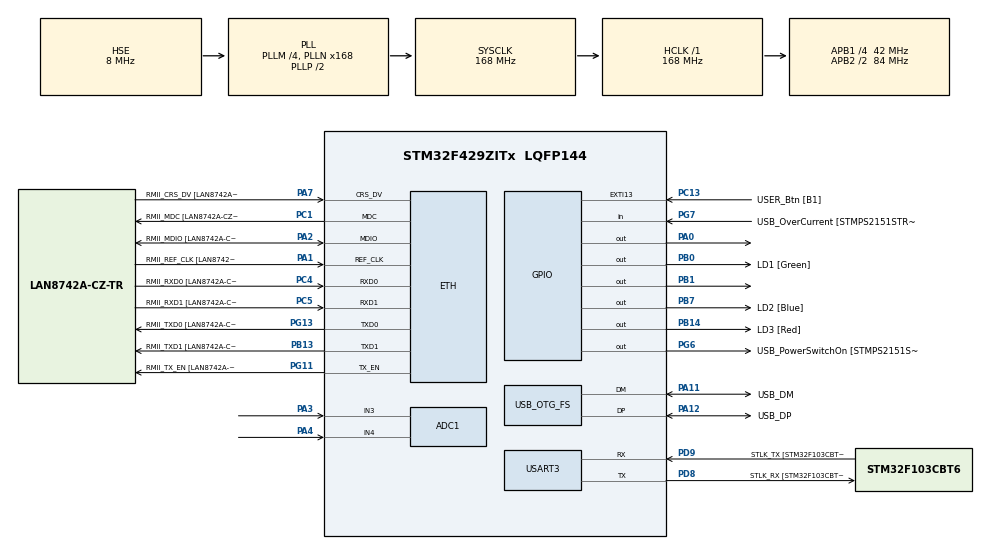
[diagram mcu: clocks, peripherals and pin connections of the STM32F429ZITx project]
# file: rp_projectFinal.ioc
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ADC1.Channel-0\#ChannelRegularConversion=ADC_CHANNEL_3
ADC1.Channel-1\#ChannelRegularConversion=ADC_CHANNEL_4
ADC1.ContinuousConvMode=DISABLE
ADC1.DiscontinuousConvMode=ENABLE
ADC1.NbrOfConversion=2
ADC1.NbrOfConversionFlag=1
ADC1.Rank-0\#ChannelRegularConversion=1
ADC1.Rank-1\#ChannelRegularConversion=2
ADC1.SamplingTime-0\#ChannelRegularConversion=ADC_SAMPLETIME_3CYCLES
ADC1.SamplingTime-1\#ChannelRegularConversion=ADC_SAMPLETIME_3CYCLES
ADC1.master=1
ETH.MediaInterface=HAL_ETH_RMII_MODE
ETH.PHY_Name=LAN8742A_PHY_ADDRESS
ETH.PHY_Value=0
ETH.PhyAddress=0
Mcu.Family=STM32F4
Mcu.Name=STM32F429ZITx
Mcu.Package=LQFP144
NVIC.OTG_FS_IRQn=true\:0\:0\:false\:false\:true\:false\:true\:true
NVIC.PriorityGroup=NVIC_PRIORITYGROUP_4
PA0/WKUP.Signal=GPIO_Output
PA1.GPIO_Label=RMII_REF_CLK [LAN8742A-CZ-TR_REFCLK0]
PA1.Mode=RMII
PA1.Signal=ETH_REF_CLK
PA10.GPIO_Label=USB_ID
PA10.Signal=USB_OTG_FS_ID
PA11.GPIO_Label=USB_DM
PA11.Mode=Device_Only
PA11.Signal=USB_OTG_FS_DM
PA12.GPIO_Label=USB_DP
PA12.Mode=Device_Only
PA12.Signal=USB_OTG_FS_DP
PA13.GPIO_Label=TMS
PA13.Mode=Serial_Wire
PA13.Signal=SYS_JTMS-SWDIO
PA14.GPIO_Label=TCK
PA14.Mode=Serial_Wire
PA14.Signal=SYS_JTCK-SWCLK
PA2.GPIO_Label=RMII_MDIO [LAN8742A-CZ-TR_MDIO]
PA2.Mode=RMII
PA2.Signal=ETH_MDIO
PA3.Signal=ADCx_IN3
PA4.Signal=ADCx_IN4
PA7.GPIO_Label=RMII_CRS_DV [LAN8742A-CZ-TR_CRS_DV]
PA7.Mode=RMII
PA7.Signal=ETH_CRS_DV
PA8.GPIO_Label=USB_SOF [TP1]
PA8.Signal=USB_OTG_FS_SOF
PA9.GPIO_Label=USB_VBUS
PA9.Signal=USB_OTG_FS_VBUS
PB0.GPIO_Label=LD1 [Green]
PB0.Signal=GPIO_Output
PB1.Signal=GPIO_Output
PB13.GPIO_Label=RMII_TXD1 [LAN8742A-CZ-TR_TXD1]
PB13.Mode=RMII
PB13.Signal=ETH_TXD1
PB14.GPIO_Label=LD3 [Red]
PB14.Signal=GPIO_Output
PB7.GPIO_Label=LD2 [Blue]
PB7.Signal=GPIO_Output
PC1.GPIO_Label=RMII_MDC [LAN8742A-CZ-TR_MDC]
PC1.Mode=RMII
PC1.Signal=ETH_MDC
PC13.GPIO_Label=USER_Btn [B1]
PC13.Signal=GPXTI13
PC14/OSC32_IN.Mode=LSE-External-Oscillator
PC14/OSC32_IN.Signal=RCC_OSC32_IN
PC15/OSC32_OUT.Mode=LSE-External-Oscillator
PC15/OSC32_OUT.Signal=RCC_OSC32_OUT
PC4.GPIO_Label=RMII_RXD0 [LAN8742A-CZ-TR_RXD0]
PC4.Mode=RMII
PC4.Signal=ETH_RXD0
PC5.GPIO_Label=RMII_RXD1 [LAN8742A-CZ-TR_RXD1]
PC5.Mode=RMII
PC5.Signal=ETH_RXD1
PD8.GPIO_Label=STLK_RX [STM32F103CBT6_PA3]
PD8.Mode=Asynchronous
PD8.Signal=USART3_TX
PD9.GPIO_Label=STLK_TX [STM32F103CBT6_PA2]
PD9.Mode=Asynchronous
PD9.Signal=USART3_RX
PG11.GPIO_Label=RMII_TX_EN [LAN8742A-CZ-TR_TXEN]
PG11.Mode=RMII
PG11.Signal=ETH_TX_EN
PG13.GPIO_Label=RMII_TXD0 [LAN8742A-CZ-TR_TXD0]
PG13.Mode=RMII
PG13.Signal=ETH_TXD0
PG6.GPIO_Label=USB_PowerSwitchOn [STMPS2151STR_EN]
PG6.Signal=GPIO_Output
PG7.GPIO_Label=USB_OverCurrent [STMPS2151STR_FAULT]
PG7.Signal=GPIO_Input
PH0/OSC_IN.GPIO_Label=MCO [STM32F103CBT6_PA8]
PH0/OSC_IN.Mode=HSE-External-Clock-Source
PH0/OSC_IN.Signal=RCC_OSC_IN
PH1/OSC_OUT.Mode=HSE-External-Clock-Source
PH1/OSC_OUT.Signal=RCC_OSC_OUT
ProjectManager.HeapSize=0x200
ProjectManager.StackSize=0x400
ProjectManager.TargetToolchain=STM32CubeIDE
RCC.48MHZClocksFreq_Value=48000000
RCC.AHBFreq_Value=168000000
RCC.APB1CLKDivider=RCC_HCLK_DIV4
RCC.APB1Freq_Value=42000000
RCC.APB1TimFreq_Value=84000000
RCC.APB2CLKDivider=RCC_HCLK_DIV2
RCC.APB2Freq_Value=84000000
RCC.APB2TimCLKDivider=2
RCC.APB2TimFreq_Value=168000000
RCC.CortexFreq_Value=168000000
RCC.HCLKFreq_Value=168000000
RCC.HSE_VALUE=8000000
RCC.HSI_VALUE=16000000
RCC.PLLM=4
RCC.PLLMUL=RCC_PLL_MUL9
RCC.PLLN=168
RCC.PLLQ=7
RCC.PRESCALERUSB=RCC_USBCLKSOURCE_PLL_DIV1_5
RCC.SYSCLKFreq_VALUE=168000000
RCC.SYSCLKSource=RCC_SYSCLKSOURCE_PLLCLK
RCC.SYSCLKSourceVirtual=RCC_SYSCLKSOURCE_PLLCLK
RCC.USBFreq_Value=48000000
RCC.VCOOutputFreq_Value=336000000
SH.ADCx_IN3.0=ADC1_IN3,IN3
SH.ADCx_IN4.0=ADC1_IN4,IN4
TIM1.Period=65535-1
TIM1.Prescaler=168-1
USART3.VirtualMode=VM_ASYNC
USB_DEVICE.CLASS_NAME_FS=CDC
USB_DEVICE.VirtualMode-CDC_FS=Cdc
USB_DEVICE.VirtualModeFS=Cdc_FS
USB_OTG_FS.VirtualMode=Device_Only
VP_TIM1_VS_ClockSourceINT.Mode=Internal
VP_USB_DEVICE_VS_USB_DEVICE_CDC_FS.Mode=CDC_FS
board=NUCLEO-F429ZI

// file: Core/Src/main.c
/* USER CODE BEGIN Header */
/**
  ******************************************************************************
  * @file           : main.c
  * @brief          : Main program body
  ******************************************************************************
  * @attention
  *
  * Copyright (c) 2022 STMicroelectronics.
  * All rights reserved.
  *
  * This software is licensed under terms that can be found in the LICENSE file
  * in the root directory of this software component.
  * If no LICENSE file comes with this software, it is provided AS-IS.
  *
  ******************************************************************************
  */
/* USER CODE END Header */
#include "main.h"
#include "string.h"
#include "usb_device.h"

/* USER CODE BEGIN Includes */
#include "stdio.h"
#include "usbd_cdc_if.h"
/* USER CODE END Includes */

ETH_TxPacketConfig TxConfig;
ETH_DMADescTypeDef  DMARxDscrTab[ETH_RX_DESC_CNT]; /* Ethernet Rx DMA Descriptors */
ETH_DMADescTypeDef  DMATxDscrTab[ETH_TX_DESC_CNT]; /* Ethernet Tx DMA Descriptors */

 ADC_HandleTypeDef hadc1;

ETH_HandleTypeDef heth;

TIM_HandleTypeDef htim1;

UART_HandleTypeDef huart3;

void SystemClock_Config(void);
static void MX_GPIO_Init(void);
static void MX_ETH_Init(void);
static void MX_USART3_UART_Init(void);
static void MX_ADC1_Init(void);
static void MX_TIM1_Init(void);
/* USER CODE BEGIN PFP */
#ifdef __GNUC__
/* With GCC, small printf (option LD Linker->Libraries->Small printf
   set to 'Yes') calls __io_putchar() */
#define PUTCHAR_PROTOTYPE int __io_putchar(int ch)
#else
#define PUTCHAR_PROTOTYPE int fputc(int ch, FILE *f)
#endif /* __GNUC__ */
/* USER CODE END PFP */

/* USER CODE BEGIN 0 */
void delay_us(uint16_t time)
{
	__HAL_TIM_SET_COUNTER(&htim1, 0);
	while((__HAL_TIM_GET_COUNTER(&htim1)) < time);
}

uint8_t RH_integral, RH_decimal, T_integral, T_decimal;
uint8_t CheckSUM, Presence = 0;

void Set_Pin_Output(GPIO_TypeDef *GPIOx, uint16_t GPIO_Pin)
{
	GPIO_InitTypeDef GPIO_InitStruct = {0};
	GPIO_InitStruct.Pin = GPIO_Pin;
	GPIO_InitStruct.Mode = GPIO_MODE_OUTPUT_PP;
	GPIO_InitStruct.Speed = GPIO_SPEED_FREQ_LOW;
	HAL_GPIO_Init(GPIOx, &GPIO_InitStruct);
}

void Set_Pin_Input(GPIO_TypeDef *GPIOx, uint16_t GPIO_Pin)
{
	GPIO_InitTypeDef GPIO_InitStruct = {0};
	GPIO_InitStruct.Pin = GPIO_Pin;
	GPIO_InitStruct.Mode = GPIO_MODE_INPUT;
	GPIO_InitStruct.Pull = GPIO_PULLUP;
	HAL_GPIO_Init(GPIOx, &GPIO_InitStruct);
}

void DHT11_Start(void)
{
	Set_Pin_Output(GPIOA, GPIO_PIN_0);
	HAL_GPIO_WritePin(GPIOA, GPIO_PIN_0, GPIO_PIN_RESET);
	HAL_Delay(18);
	HAL_GPIO_WritePin(GPIOA, GPIO_PIN_0, GPIO_PIN_SET);
	delay_us(20);
	Set_Pin_Input(GPIOA, GPIO_PIN_0);
}

uint8_t DHT11_check_Response(void)
{
	uint8_t Response = 0;
	delay_us(40);
	if(!(HAL_GPIO_ReadPin(GPIOA, GPIO_PIN_0)))
	{
		delay_us(80);
		if((HAL_GPIO_ReadPin(GPIOA, GPIO_PIN_0))) Response = 1;
		else Response = -1;
	}
	while((HAL_GPIO_ReadPin(GPIOA, GPIO_PIN_0)));

	return Response;
}

uint8_t DHT11_Read(void)
{
	uint8_t data;
	for(uint8_t i = 0; i < 8; i++)
	{
		while(!(HAL_GPIO_ReadPin(GPIOA, GPIO_PIN_0)));
		delay_us(40);
		if(!(HAL_GPIO_ReadPin(GPIOA, GPIO_PIN_0)))
		{
			data = (data << 1);
		}
		else data = (data << 1) + 1;

		while((HAL_GPIO_ReadPin(GPIOA, GPIO_PIN_0)));
	}
	return data;
}
/* USER CODE END 0 */

int main(void)
{

  /* MCU Configuration--------------------------------------------------------*/

  /* Reset of all peripherals, Initializes the Flash interface and the Systick. */
  HAL_Init();

  /* Configure the system clock */
  SystemClock_Config();

  /* Initialize all configured peripherals */
  MX_GPIO_Init();
  MX_ETH_Init();
  MX_USART3_UART_Init();
  MX_ADC1_Init();
  MX_TIM1_Init();
  MX_USB_DEVICE_Init();
  /* USER CODE BEGIN 2 */
//  uint32_t flame;
//  uint32_t cds;
  uint32_t ADC_DATA[2];
  char state[200] = {0};
  int flame, cds;
  char *data = "26:42:0:255L";
  int datalen = strlen(data);
  float fcds;
  int icds;
  HAL_TIM_Base_Start(&htim1);
  /* USER CODE END 2 */

  /* Infinite loop */
  /* USER CODE BEGIN WHILE */
  while (1)
  {
	  int PinNum = GPIO_PIN_1;
	  DHT11_Start();
	  DHT11_check_Response();
	  RH_integral = DHT11_Read();
	  RH_decimal = DHT11_Read();
	  T_integral = DHT11_Read();
	  T_decimal = DHT11_Read();
	  CheckSUM = DHT11_Read();

	  if((RH_integral + RH_decimal + T_integral + T_decimal) == CheckSUM)
	  {
	  	  printf("TEMPERATURE : %d.%d C\n", T_integral, T_decimal);
	  	  printf("HUMIDITY : 	%d.%d %%\n", RH_integral, RH_decimal);
	  }

	  else
	  {
	  	  printf("DHT11 ERROR!!\n");
	  }

	  HAL_ADC_Start(&hadc1);
	  HAL_ADC_PollForConversion(&hadc1, 10);
	  ADC_DATA[0] = HAL_ADC_GetValue(&hadc1);

	  HAL_ADC_Start(&hadc1);
	  HAL_ADC_PollForConversion(&hadc1, 10);
	  ADC_DATA[1] = HAL_ADC_GetValue(&hadc1);
	  fcds = (float)ADC_DATA[1];
	  fcds = (fcds-850)/3245*100;
	  icds = (int)fcds;

	  if(icds < 0)
	  {
		  icds = 0;
	  }
	  if(ADC_DATA[0] > 50)
	  {
		  HAL_GPIO_WritePin(GPIOB, PinNum, 1);
		  flame = 1;
	  }
	  else
	  {
		  HAL_GPIO_WritePin(GPIOB, PinNum, 0);
		  flame = 0;
	  }

	  printf("cds value : %d\n\r", icds);
	  sprintf(state, "%d:%d:%d:%dL", T_integral, RH_integral, flame, icds);
	  CDC_Transmit_FS(state, strlen(state)); //데이터 전송할때 사용
	  HAL_Delay(1000);
    /* USER CODE END WHILE */

    /* USER CODE BEGIN 3 */S
  }
  /* USER CODE END 3 */
}

void SystemClock_Config(void)
{
  RCC_OscInitTypeDef RCC_OscInitStruct = {0};
  RCC_ClkInitTypeDef RCC_ClkInitStruct = {0};

  /** Configure the main internal regulator output voltage
  */
  __HAL_RCC_PWR_CLK_ENABLE();
  __HAL_PWR_VOLTAGESCALING_CONFIG(PWR_REGULATOR_VOLTAGE_SCALE1);

  /** Initializes the RCC Oscillators according to the specified parameters
  * in the RCC_OscInitTypeDef structure.
  */
  RCC_OscInitStruct.OscillatorType = RCC_OSCILLATORTYPE_HSE;
  RCC_OscInitStruct.HSEState = RCC_HSE_BYPASS;
  RCC_OscInitStruct.PLL.PLLState = RCC_PLL_ON;
  RCC_OscInitStruct.PLL.PLLSource = RCC_PLLSOURCE_HSE;
  RCC_OscInitStruct.PLL.PLLM = 4;
  RCC_OscInitStruct.PLL.PLLN = 168;
  RCC_OscInitStruct.PLL.PLLP = RCC_PLLP_DIV2;
  RCC_OscInitStruct.PLL.PLLQ = 7;
  if (HAL_RCC_OscConfig(&RCC_OscInitStruct) != HAL_OK)
  {
    Error_Handler();
  }

  /** Initializes the CPU, AHB and APB buses clocks
  */
  RCC_ClkInitStruct.ClockType = RCC_CLOCKTYPE_HCLK|RCC_CLOCKTYPE_SYSCLK
                              |RCC_CLOCKTYPE_PCLK1|RCC_CLOCKTYPE_PCLK2;
  RCC_ClkInitStruct.SYSCLKSource = RCC_SYSCLKSOURCE_PLLCLK;
  RCC_ClkInitStruct.AHBCLKDivider = RCC_SYSCLK_DIV1;
  RCC_ClkInitStruct.APB1CLKDivider = RCC_HCLK_DIV4;
  RCC_ClkInitStruct.APB2CLKDivider = RCC_HCLK_DIV2;

  if (HAL_RCC_ClockConfig(&RCC_ClkInitStruct, FLASH_LATENCY_5) != HAL_OK)
  {
    Error_Handler();
  }
}

static void MX_ADC1_Init(void)
{

  ADC_ChannelConfTypeDef sConfig = {0};

  /** Configure the global features of the ADC (Clock, Resolution, Data Alignment and number of conversion)
  */
  hadc1.Instance = ADC1;
  hadc1.Init.ClockPrescaler = ADC_CLOCK_SYNC_PCLK_DIV4;
  hadc1.Init.Resolution = ADC_RESOLUTION_12B;
  hadc1.Init.ScanConvMode = ENABLE;
  hadc1.Init.ContinuousConvMode = DISABLE;
  hadc1.Init.DiscontinuousConvMode = ENABLE;
  hadc1.Init.NbrOfDiscConversion = 1;
  hadc1.Init.ExternalTrigConvEdge = ADC_EXTERNALTRIGCONVEDGE_NONE;
  hadc1.Init.ExternalTrigConv = ADC_SOFTWARE_START;
  hadc1.Init.DataAlign = ADC_DATAALIGN_RIGHT;
  hadc1.Init.NbrOfConversion = 2;
  hadc1.Init.DMAContinuousRequests = DISABLE;
  hadc1.Init.EOCSelection = ADC_EOC_SINGLE_CONV;
  if (HAL_ADC_Init(&hadc1) != HAL_OK)
  {
    Error_Handler();
  }

  /** Configure for the selected ADC regular channel its corresponding rank in the sequencer and its sample time.
  */
  sConfig.Channel = ADC_CHANNEL_3;
  sConfig.Rank = 1;
  sConfig.SamplingTime = ADC_SAMPLETIME_3CYCLES;
  if (HAL_ADC_ConfigChannel(&hadc1, &sConfig) != HAL_OK)
  {
    Error_Handler();
  }

  /** Configure for the selected ADC regular channel its corresponding rank in the sequencer and its sample time.
  */
  sConfig.Channel = ADC_CHANNEL_4;
  sConfig.Rank = 2;
  if (HAL_ADC_ConfigChannel(&hadc1, &sConfig) != HAL_OK)
  {
    Error_Handler();
  }

}

static void MX_ETH_Init(void)
{

   static uint8_t MACAddr[6];

  heth.Instance = ETH;
  MACAddr[0] = 0x00;
  MACAddr[1] = 0x80;
  MACAddr[2] = 0xE1;
  MACAddr[3] = 0x00;
  MACAddr[4] = 0x00;
  MACAddr[5] = 0x00;
  heth.Init.MACAddr = &MACAddr[0];
  heth.Init.MediaInterface = HAL_ETH_RMII_MODE;
  heth.Init.TxDesc = DMATxDscrTab;
  heth.Init.RxDesc = DMARxDscrTab;
  heth.Init.RxBuffLen = 1524;

  if (HAL_ETH_Init(&heth) != HAL_OK)
  {
    Error_Handler();
  }

  memset(&TxConfig, 0 , sizeof(ETH_TxPacketConfig));
  TxConfig.Attributes = ETH_TX_PACKETS_FEATURES_CSUM | ETH_TX_PACKETS_FEATURES_CRCPAD;
  TxConfig.ChecksumCtrl = ETH_CHECKSUM_IPHDR_PAYLOAD_INSERT_PHDR_CALC;
  TxConfig.CRCPadCtrl = ETH_CRC_PAD_INSERT;

}

static void MX_TIM1_Init(void)
{

  TIM_ClockConfigTypeDef sClockSourceConfig = {0};
  TIM_MasterConfigTypeDef sMasterConfig = {0};

  htim1.Instance = TIM1;
  htim1.Init.Prescaler = 168-1;
  htim1.Init.CounterMode = TIM_COUNTERMODE_UP;
  htim1.Init.Period = 65535-1;
  htim1.Init.ClockDivision = TIM_CLOCKDIVISION_DIV1;
  htim1.Init.RepetitionCounter = 0;
  htim1.Init.AutoReloadPreload = TIM_AUTORELOAD_PRELOAD_DISABLE;
  if (HAL_TIM_Base_Init(&htim1) != HAL_OK)
  {
    Error_Handler();
  }
  sClockSourceConfig.ClockSource = TIM_CLOCKSOURCE_INTERNAL;
  if (HAL_TIM_ConfigClockSource(&htim1, &sClockSourceConfig) != HAL_OK)
  {
    Error_Handler();
  }
  sMasterConfig.MasterOutputTrigger = TIM_TRGO_RESET;
  sMasterConfig.MasterSlaveMode = TIM_MASTERSLAVEMODE_DISABLE;
  if (HAL_TIMEx_MasterConfigSynchronization(&htim1, &sMasterConfig) != HAL_OK)
  {
    Error_Handler();
  }

}

static void MX_USART3_UART_Init(void)
{

  huart3.Instance = USART3;
  huart3.Init.BaudRate = 115200;
  huart3.Init.WordLength = UART_WORDLENGTH_8B;
  huart3.Init.StopBits = UART_STOPBITS_1;
  huart3.Init.Parity = UART_PARITY_NONE;
  huart3.Init.Mode = UART_MODE_TX_RX;
  huart3.Init.HwFlowCtl = UART_HWCONTROL_NONE;
  huart3.Init.OverSampling = UART_OVERSAMPLING_16;
  if (HAL_UART_Init(&huart3) != HAL_OK)
  {
    Error_Handler();
  }

}

static void MX_GPIO_Init(void)
{
  GPIO_InitTypeDef GPIO_InitStruct = {0};

  /* GPIO Ports Clock Enable */
  __HAL_RCC_GPIOC_CLK_ENABLE();
  __HAL_RCC_GPIOH_CLK_ENABLE();
  __HAL_RCC_GPIOA_CLK_ENABLE();
  __HAL_RCC_GPIOB_CLK_ENABLE();
  __HAL_RCC_GPIOD_CLK_ENABLE();
  __HAL_RCC_GPIOG_CLK_ENABLE();

  /*Configure GPIO pin Output Level */
  HAL_GPIO_WritePin(GPIOA, GPIO_PIN_0, GPIO_PIN_RESET);

  /*Configure GPIO pin Output Level */
  HAL_GPIO_WritePin(GPIOB, LD1_Pin|GPIO_PIN_1|LD3_Pin|LD2_Pin, GPIO_PIN_RESET);

  /*Configure GPIO pin Output Level */
  HAL_GPIO_WritePin(USB_PowerSwitchOn_GPIO_Port, USB_PowerSwitchOn_Pin, GPIO_PIN_RESET);

  /*Configure GPIO pin : USER_Btn_Pin */
  GPIO_InitStruct.Pin = USER_Btn_Pin;
  GPIO_InitStruct.Mode = GPIO_MODE_IT_RISING;
  GPIO_InitStruct.Pull = GPIO_NOPULL;
  HAL_GPIO_Init(USER_Btn_GPIO_Port, &GPIO_InitStruct);

  /*Configure GPIO pin : PA0 */
  GPIO_InitStruct.Pin = GPIO_PIN_0;
  GPIO_InitStruct.Mode = GPIO_MODE_OUTPUT_PP;
  GPIO_InitStruct.Pull = GPIO_NOPULL;
  GPIO_InitStruct.Speed = GPIO_SPEED_FREQ_LOW;
  HAL_GPIO_Init(GPIOA, &GPIO_InitStruct);

  /*Configure GPIO pins : LD1_Pin PB1 LD3_Pin LD2_Pin */
  GPIO_InitStruct.Pin = LD1_Pin|GPIO_PIN_1|LD3_Pin|LD2_Pin;
  GPIO_InitStruct.Mode = GPIO_MODE_OUTPUT_PP;
  GPIO_InitStruct.Pull = GPIO_NOPULL;
  GPIO_InitStruct.Speed = GPIO_SPEED_FREQ_LOW;
  HAL_GPIO_Init(GPIOB, &GPIO_InitStruct);

  /*Configure GPIO pin : USB_PowerSwitchOn_Pin */
  GPIO_InitStruct.Pin = USB_PowerSwitchOn_Pin;
  GPIO_InitStruct.Mode = GPIO_MODE_OUTPUT_PP;
  GPIO_InitStruct.Pull = GPIO_NOPULL;
  GPIO_InitStruct.Speed = GPIO_SPEED_FREQ_LOW;
  HAL_GPIO_Init(USB_PowerSwitchOn_GPIO_Port, &GPIO_InitStruct);

  /*Configure GPIO pin : USB_OverCurrent_Pin */
  GPIO_InitStruct.Pin = USB_OverCurrent_Pin;
  GPIO_InitStruct.Mode = GPIO_MODE_INPUT;
  GPIO_InitStruct.Pull = GPIO_NOPULL;
  HAL_GPIO_Init(USB_OverCurrent_GPIO_Port, &GPIO_InitStruct);

}

/* USER CODE BEGIN 4 */
PUTCHAR_PROTOTYPE
{
  /* Place your implementation of fputc here */
  /* e.g. write a character to the USART1 and Loop until the end of transmission */
  HAL_UART_Transmit(&huart3, (uint8_t *)&ch, 1, 0xFFFF);

  return ch;
}
/* USER CODE END 4 */

void Error_Handler(void)
{
  __disable_irq();
  while (1)
  {
  }
}
